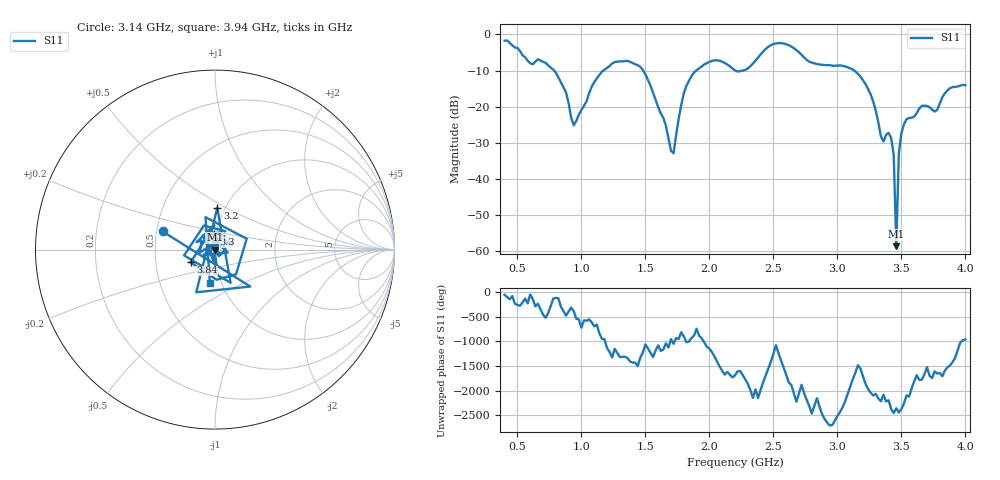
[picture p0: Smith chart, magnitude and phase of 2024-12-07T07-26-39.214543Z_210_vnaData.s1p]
!Created with skrf (http://scikit-rf.org).
# Hz S RI R 50.0
!freq ReS11 ImS11
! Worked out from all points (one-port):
!   181 points, 400 MHz to 4 GHz, reference 50 ohm
!   lowest |S11| = -58.6 dB at 3.46 GHz (marker M1), VSWR 1.00, Z = 49.9 + j0.0381 ohm
!   |S11| at or under -10 dB: 786.6 MHz to 1.171 GHz (384.7 MHz wide, 39.3 % of centre); 1.483 GHz to 1.897 GHz (414.4 MHz wide, 24.5 % of centre); 3.132 GHz to end of sweep (the widest 3 of 4)
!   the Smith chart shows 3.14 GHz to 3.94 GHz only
!   S11 on the Smith chart (normalised r, x): 3.14 GHz: 0.54, +0.12; 3.2 GHz: 0.92, +0.45; 3.3 GHz: 0.97, +0.17; 3.84 GHz: 0.75, -0.11; 3.94 GHz: 0.88, -0.34
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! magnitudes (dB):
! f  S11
! 400 MHz  -1.7
! 860 MHz  -14.6
! 940 MHz  -25.1
! 1.12 GHz  -12.2
! 1.3 GHz  -7.4
! 1.5 GHz  -11.0
! 1.72 GHz  -32.9
! 1.76 GHz  -23.4
! 1.88 GHz  -10.5
! 2.04 GHz  -7.2
! 2.2 GHz  -10.0
! 2.5 GHz  -2.7
! 2.66 GHz  -3.8
! 3.1 GHz  -9.4
! 3.14 GHz  -10.2
! 3.2 GHz  -12.7
! 3.3 GHz  -21.1
! 3.34 GHz  -28.2
! 3.4 GHz  -27.2
! 3.44 GHz  -33.3
! 3.46 GHz  -58.6
! 3.48 GHz  -33.0
! 3.5 GHz  -27.3
! 3.56 GHz  -23.1
! 3.78 GHz  -20.9
! 3.84 GHz  -16.3
! 3.94 GHz  -14.4
! 4 GHz  -14.1
